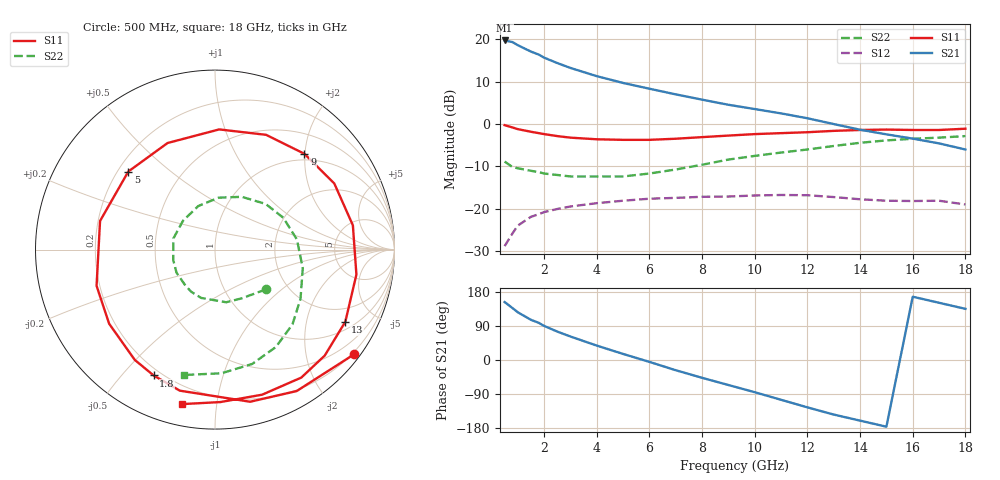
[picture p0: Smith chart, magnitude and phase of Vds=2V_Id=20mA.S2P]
!ATF-34143
!S-PARAMETERS at Vds=2V  Id=20mA.  LAST UPDATED 01-29-99
# ghz s ma r 50
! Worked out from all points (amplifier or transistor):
!   23 points, 500 MHz to 18 GHz, reference 50 ohm
!   highest |S21| = 19.8 dB at 500 MHz (marker M1)
!   |S21| within 3 dB of that: start of sweep to 1.653 GHz
!   unconditionally stable (mu >= 1): 6.367 GHz to end of sweep
!   at 1.5 GHz: K = 0.34, MSG = 19.5 dB, |S12| = -21.9 dB
!   at 7 GHz: K = 1.05, MAG = 10.9 dB, |S12| = -17.5 dB
!   at 18 GHz: K = 1.51, MAG = 2.3 dB, |S12| = -19.0 dB
!   lowest NFmin = 0.10 dB at 500 MHz
!   S11 on the Smith chart (normalised r, x): 500 MHz: 0.15, -2.98; 1.8 GHz: 0.17, -0.61; 5 GHz: 0.24, +0.36; 9 GHz: 0.87, +1.99; 13 GHz: 1.31, -3.40; 18 GHz: 0.11, -0.80
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0.5  0.97 -37.0  9.718 153.0  0.036 68.0  0.36 -38.0
0.8  0.91 -60.0  9.29 137.0  0.051 56.0  0.31 -61.0
1  0.87 -77.0  8.545 126.0  0.063 48.0  0.3 -78.0
1.5  0.81 -104.0  7.181 106.0  0.08 34.0  0.28 -106.0
1.8  0.78 -116.0  6.603 98.0  0.086 28.0  0.27 -119.0
2  0.76 -126.0  6.088 90.0  0.091 23.0  0.26 -129.0
2.5  0.72 -145.0  5.253 75.0  0.099 14.0  0.25 -149.0
3  0.69 -163.0  4.602 62.0  0.106 6.0  0.24 -166.0
4  0.66 166.0  3.678 38.0  0.116 -8.0  0.24 165.0
5  0.65 138.0  3.058 16.0  0.124 -22.0  0.24 138.0
6  0.65 114.0  2.613 -5.0  0.131 -36.0  0.26 111.0
7  0.67 88.0  2.241 -27.0  0.134 -51.0  0.29 86.0
8  0.7 66.0  1.94 -47.0  0.138 -64.0  0.33 63.0
9  0.73 47.0  1.688 -66.0  0.139 -77.0  0.38 42.0
10  0.76 29.0  1.503 -85.0  0.143 -91.0  0.42 25.0
11  0.78 10.0  1.335 -105.0  0.145 -105.0  0.46 7.0
12  0.8 -10.0  1.17 -125.0  0.144 -121.0  0.5 -12.0
13  0.83 -29.0  0.999 -144.0  0.137 -135.0  0.55 -30.0
15  0.86 -56.0  0.755 -176.0  0.124 -158.0  0.64 -58.0
16  0.85 -72.0  0.672 167.0  0.123 -170.0  0.67 -72.0
17  0.85 -88.0  0.59 151.0  0.124 176.0  0.69 -87.0
18  0.88 -102.0  0.5 135.0  0.112 163.0  0.72 -104.0
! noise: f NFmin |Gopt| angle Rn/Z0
0.5  0.1  0.9  14  0.17
0.9  0.11  0.85  28  0.14
1.5  0.15  0.77  49  0.1
1.8  0.17  0.74  58  0.1
2.5  0.25  0.65  85  0.07
3  0.32  0.59  104  0.06
5  0.56  0.45  177  0.03
6  0.69  0.43  -148  0.05
8  0.95  0.47  -86  0.2
10  1.21  0.63  -42  0.5
